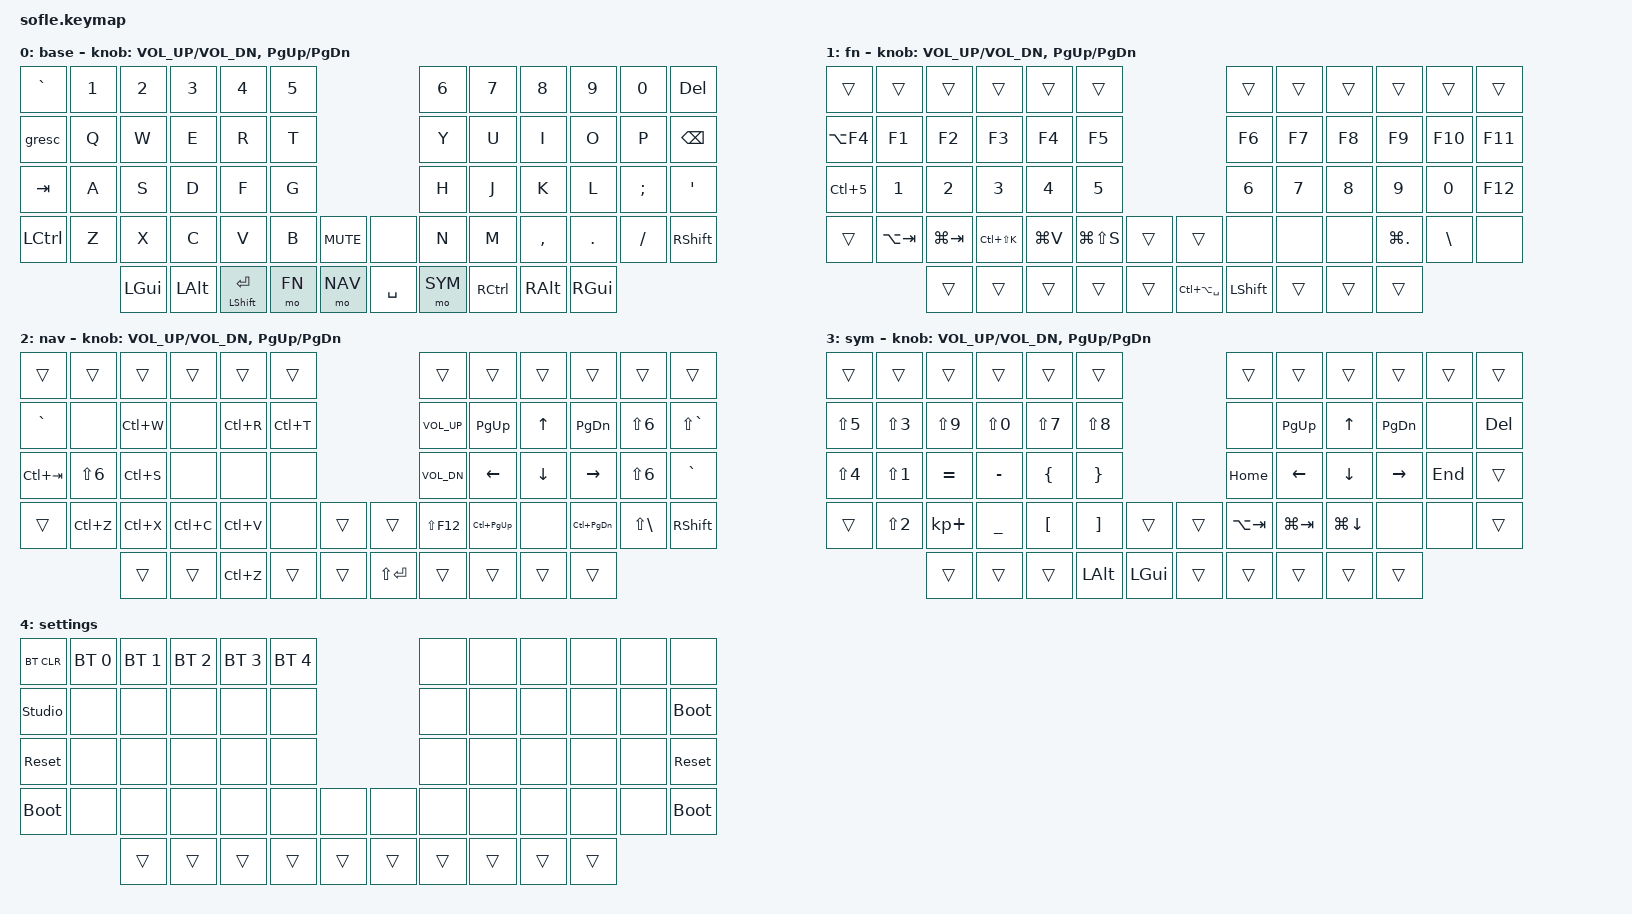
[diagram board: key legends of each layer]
/*
 * Copyright (c) 2020 The ZMK Contributors
 *
 * SPDX-License-Identifier: MIT
 *
 * Sofle v2 layout adapted from a Charybdis Mini (QMK) layout.
 * Layer roles mirror the Charybdis:
 *   BASE  - QWERTY alphas, mods on thumbs
 *   FN    - F-keys, number row, window-management combos (was Charybdis L1)
 *   NAV   - navigation, copy/paste, volume (was Charybdis L2; trackball/mouse removed)
 *   SYM   - symbols, brackets, arrow cluster (was Charybdis L3)
 *   SETTINGS - Bluetooth / ZMK Studio / reset (FN + SYM held; the wireless
 *              Sofle needs BT controls the wired Charybdis did not)
 *
 * Differences from the Charybdis, by design:
 *   - No trackball: all mouse keys are dropped. On NAV the scroll-wheel cluster
 *     became an arrow cluster; mouse-button keys became &none.
 *   - The Sofle has a dedicated number row + extra thumb keys. The number row
 *     stays as 1-0; the extra thumbs add GUI/ALT/CTRL (mods the Charybdis lacked).
 *   - MACRO(0)/MACRO(1) from Charybdis L1 are &none placeholders (see FN row 3).
 */

#include <behaviors.dtsi>
#include <dt-bindings/zmk/bt.h>
#include <dt-bindings/zmk/ext_power.h>
#include <dt-bindings/zmk/keys.h>
#include <dt-bindings/zmk/rgb.h>

#define BASE     0
#define FN       1
#define NAV      2
#define SYM      3
#define SETTINGS 4

/ {
    behaviors {
        // Grave-Escape: tap = ESC, tap with Shift/GUI = ` (mirrors QMK KC_GESC)
        gresc: grave_escape {
            compatible = "zmk,behavior-mod-morph";
            #binding-cells = <0>;
            bindings = <&kp ESC>, <&kp GRAVE>;
            mods = <(MOD_LGUI|MOD_LSFT|MOD_RGUI|MOD_RSFT)>;
        };
    };

    conditional_layers {
        compatible = "zmk,conditional-layers";

        // Hold FN (left thumb) + SYM (right thumb) -> SETTINGS
        settings_layer {
            if-layers = <FN SYM>;
            then-layer = <SETTINGS>;
        };
    };

    keymap {
        compatible = "zmk,keymap";

        base_layer {
            label = "base";

            // ------------------------------------------------------------------------------------------------------------
            // |   `   |  1  |  2  |  3   |  4   |  5   |                   |  6   |  7    |  8    |  9   |   0   |  DEL  |
            // | GESC  |  Q  |  W  |  E   |  R   |  T   |                   |  Y   |  U    |  I    |  O   |   P   | BKSPC |
            // |  TAB  |  A  |  S  |  D   |  F   |  G   |                   |  H   |  J    |  K    |  L   |   ;   |   '   |
            // |  CTRL |  Z  |  X  |  C   |  V   |  B   |  MUTE  |  |       |  N   |  M    |  ,    |  .   |   /   | SHIFT |
            //               | GUI | ALT  | SFT/ENT | FN | NAV  |  | SPACE | SYM | CTRL  | ALT   | GUI  |

            bindings = <
&kp GRAVE  &kp N1  &kp N2    &kp N3    &kp N4         &kp N5                        &kp N6     &kp N7     &kp N8     &kp N9    &kp N0    &kp DELETE
&gresc     &kp Q   &kp W     &kp E     &kp R          &kp T                         &kp Y      &kp U      &kp I      &kp O     &kp P     &kp BSPC
&kp TAB    &kp A   &kp S     &kp D     &kp F          &kp G                         &kp H      &kp J      &kp K      &kp L     &kp SEMI  &kp SQT
&kp LCTRL  &kp Z   &kp X     &kp C     &kp V          &kp B   &kp C_MUTE   &none     &kp N      &kp M      &kp COMMA  &kp DOT   &kp FSLH  &kp RSHFT
                   &kp LGUI  &kp LALT  &mt LSHFT RET  &mo FN  &mo NAV      &kp SPACE &mo SYM    &kp RCTRL  &kp RALT   &kp RGUI
            >;

            sensor-bindings = <&inc_dec_kp C_VOL_UP C_VOL_DN &inc_dec_kp PG_UP PG_DN>;
        };

        fn_layer {
            label = "fn";

            // Charybdis L1: F-keys, number row, window-management combos.
            // ------------------------------------------------------------------------------------------------------------
            // | (num row passes through to base)                          |
            // | A+F4 |  F1 |  F2 |  F3  |  F4  |  F5  |                   |  F6  |  F7   |  F8   |  F9  |  F10  |  F11  |
            // | C+5  |  1  |  2  |  3   |  4   |  5   |                   |  6   |  7    |  8    |  9   |   0   |  F12  |
            // |      |A+TAB|G+TAB|C+S+K | G+V  |G+S+S |        |  |       |MACR1 |       |       | G+.  |   \   | MACR0 |
            //               |    |     | C+A+SPACE | LSHFT |   |

            bindings = <
&trans      &trans       &trans       &trans         &trans      &trans                       &trans     &trans     &trans     &trans      &trans     &trans
&kp LA(F4)  &kp F1       &kp F2       &kp F3         &kp F4      &kp F5                       &kp F6     &kp F7     &kp F8     &kp F9      &kp F10    &kp F11
&kp LC(N5)  &kp N1       &kp N2       &kp N3         &kp N4      &kp N5                       &kp N6     &kp N7     &kp N8     &kp N9      &kp N0     &kp F12
&trans      &kp LA(TAB)  &kp LG(TAB)  &kp LC(LS(K))  &kp LG(V)   &kp LG(LS(S))  &trans &trans  &none      &none      &none      &kp LG(DOT) &kp BSLH   &none
                         &trans       &trans         &trans      &trans     &trans  &kp LC(LA(SPACE)) &kp LSHFT  &trans     &trans      &trans
            >;
            // Right row 3 outer keys: leftmost = MACRO(1), rightmost = MACRO(0).
            // Charybdis exported these as macros without contents -> &none placeholders.

            sensor-bindings = <&inc_dec_kp C_VOL_UP C_VOL_DN &inc_dec_kp PG_UP PG_DN>;
        };

        nav_layer {
            label = "nav";

            // Charybdis L2: navigation, edit shortcuts, volume. Trackball/mouse removed:
            // the scroll-wheel cluster became an arrow cluster; mouse buttons -> &none.
            // ------------------------------------------------------------------------------------------------------------
            // |  `   |     | C+W |      | C+R  | C+T  |                   | VOL+ | PGUP  |  UP   | PGDN |   ^   |   ~   |
            // | C+TAB|  ^  | C+S |      |      |      |                   | VOL- |  <-   | DOWN  |  ->  |   ^   |   `   |
            // |      | C+Z | C+X | C+C  | C+V  |      |        |  |       | S+F12| C+PGUP|       |C+PGDN|   |   | SHIFT |
            //               |    | C+Z |      |      |      |  | S+ENTER |     |       |       |      |

            bindings = <
&trans       &trans     &trans     &trans     &trans     &trans                          &trans       &trans        &trans   &trans        &trans       &trans
&kp GRAVE    &none      &kp LC(W)  &none      &kp LC(R)  &kp LC(T)                       &kp C_VOL_UP &kp PG_UP     &kp UP   &kp PG_DN     &kp LS(N6)   &kp LS(GRAVE)
&kp LC(TAB)  &kp LS(N6) &kp LC(S)  &none      &none      &none                           &kp C_VOL_DN &kp LEFT      &kp DOWN &kp RIGHT     &kp LS(N6)   &kp GRAVE
&trans       &kp LC(Z)  &kp LC(X)  &kp LC(C)  &kp LC(V)  &none      &trans     &trans     &kp LS(F12)  &kp LC(PG_UP) &none    &kp LC(PG_DN) &kp LS(BSLH) &kp RSHFT
                        &trans     &trans     &kp LC(Z)  &trans     &trans     &kp LS(RET) &trans      &trans        &trans   &trans
            >;

            sensor-bindings = <&inc_dec_kp C_VOL_UP C_VOL_DN &inc_dec_kp PG_UP PG_DN>;
        };

        sym_layer {
            label = "sym";

            // Charybdis L3: symbols, brackets, arrow cluster, window shortcuts.
            // ------------------------------------------------------------------------------------------------------------
            // |  %  |  #  |  (  |  )   |  &   |  *   |                   |      | PGUP  |  UP   | PGDN |       |  DEL  |
            // |  $  |  !  |  =  |  -   |  {   |  }   |                   | HOME |  <-   | DOWN  |  ->  |  END  |       |
            // |     |  @  |  +  |  _   |  [   |  ]   |        |  |       | A+TAB| G+TAB | G+DN  |      |       |       |
            //               |    | ALT | GUI  |      |  |       |      |       |       |      |

            bindings = <
&trans      &trans      &trans     &trans      &trans     &trans                         &trans       &trans        &trans       &trans     &trans    &trans
&kp LS(N5)  &kp LS(N3)  &kp LS(N9) &kp LS(N0)  &kp LS(N7) &kp LS(N8)                     &none        &kp PG_UP     &kp UP       &kp PG_DN  &none     &kp DEL
&kp LS(N4)  &kp LS(N1)  &kp EQUAL  &kp MINUS   &kp LBRC   &kp RBRC                       &kp HOME     &kp LEFT      &kp DOWN     &kp RIGHT  &kp END   &trans
&trans      &kp LS(N2)  &kp KP_PLUS &kp UNDER  &kp LBKT   &kp RBKT   &trans     &trans    &kp LA(TAB)  &kp LG(TAB)   &kp LG(DOWN) &none      &none     &trans
                        &trans     &trans      &trans     &kp LALT   &kp LGUI   &trans    &trans       &trans        &trans       &trans
            >;

            sensor-bindings = <&inc_dec_kp C_VOL_UP C_VOL_DN &inc_dec_kp PG_UP PG_DN>;
        };

        settings_layer {
            label = "settings";

            // Held: FN + SYM. Bluetooth, ZMK Studio unlock, bootloader, reset.
            // ------------------------------------------------------------------------------------------------------------
            // | BTCLR  |  BT1  |  BT2  |  BT3  |  BT4  |  BT5  |               |     |     |     |     |     |        |
            // | STUDIO |       |       |       |       |       |               |     |     |     |     |     | BOOTL  |
            // | RESET  |       |       |       |       |       |               |     |     |     |     |     | RESET  |
            // | BOOTL  |       |       |       |       |       |     |  |       |     |     |     |     |     | BOOTL  |
            //                  |       |       |       |       |     |  |       |     |     |     |     |

            bindings = <
&bt BT_CLR      &bt BT_SEL 0  &bt BT_SEL 1  &bt BT_SEL 2  &bt BT_SEL 3  &bt BT_SEL 4                  &none  &none  &none  &none  &none  &none
&studio_unlock  &none         &none         &none         &none         &none                         &none  &none  &none  &none  &none  &bootloader
&sys_reset      &none         &none         &none         &none         &none                         &none  &none  &none  &none  &none  &sys_reset
&bootloader     &none         &none         &none         &none         &none      &none     &none      &none  &none  &none  &none  &none  &bootloader
                              &trans        &trans        &trans        &trans     &trans    &trans     &trans &trans &trans &trans
            >;
        };
    };
};
